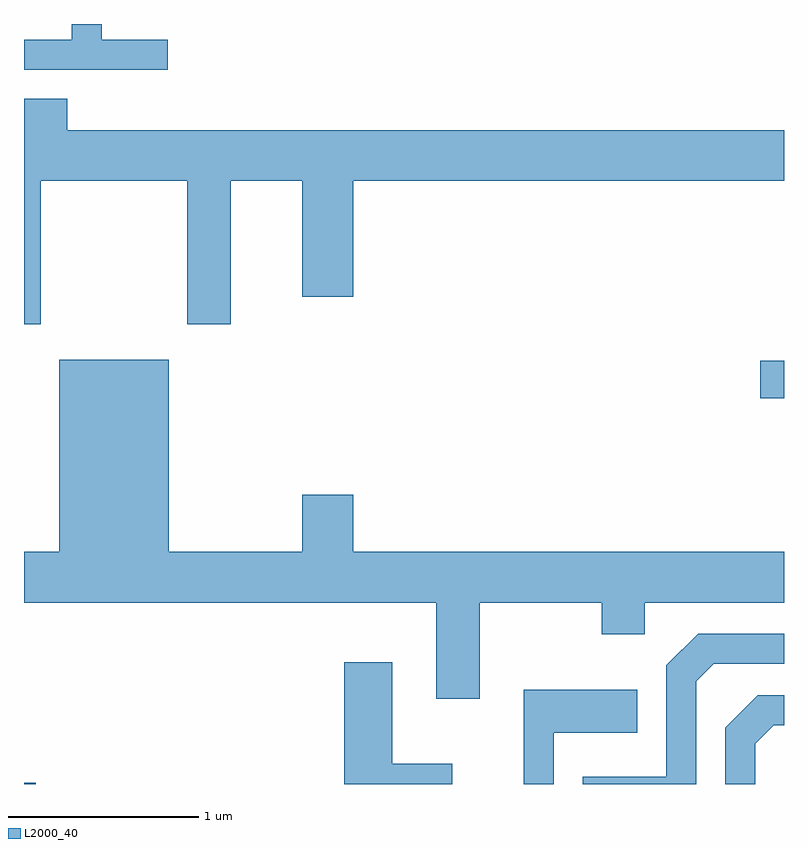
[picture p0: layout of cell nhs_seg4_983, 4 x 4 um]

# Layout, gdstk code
import gdstk
lib = gdstk.Library(unit=1e-6, precision=1e-09)
def R(c, l, rs):  # rectangles x0, y0, x1, y1
    for r in rs: c.add(gdstk.rectangle(r[:2], r[2:], *l))
def P(c, l, *ps):  # polygons
    for p in ps: c.add(gdstk.Polygon(p, *l))
L2000_40 = (2000, 40)

nhs_seg4_983 = lib.new_cell('nhs_seg4_983')
R(nhs_seg4_983, L2000_40, [(213.611,1315.982,213.674,1315.989), (217.486,1318.011,217.611,1318.209)])
P(nhs_seg4_983, L2000_40, [(214.368,1319.899),(214.019,1319.899),(214.019,1319.982),(213.861,1319.982),(213.861,1319.899),(213.611,1319.899),(213.611,1319.741),(214.368,1319.741)],
  [(213.699,1319.156),(214.471,1319.156),(214.471,1318.401),(214.699,1318.401),(214.699,1319.156),(215.076,1319.156),(215.076,1318.546),(215.344,1318.546),(215.344,1319.156),(217.611,1319.156),(217.611,1319.424),(213.839,1319.424),(213.839,1319.589),(213.611,1319.589),(213.611,1318.401),(213.699,1318.401)],
  [(216.009,1316.936),(216.651,1316.936),(216.651,1316.771),(216.879,1316.771),(216.879,1316.936),(217.611,1316.936),(217.611,1317.204),(215.344,1317.204),(215.344,1317.504),(215.076,1317.504),(215.076,1317.204),(214.374,1317.204),(214.374,1318.214),(213.796,1318.214),(213.796,1317.204),(213.611,1317.204),(213.611,1316.936),(215.781,1316.936),(215.781,1316.431),(216.009,1316.431)],
  [(217.149,1316.524),(217.242,1316.616),(217.611,1316.616),(217.611,1316.774),(217.159,1316.774),(216.991,1316.607),(216.991,1316.019),(216.551,1316.019),(216.551,1315.982),(217.149,1315.982)],
  [(215.864,1316.089),(215.549,1316.089),(215.549,1316.624),(215.296,1316.624),(215.296,1315.982),(215.864,1315.982)],
  [(216.399,1316.251),(216.839,1316.251),(216.839,1316.479),(216.241,1316.479),(216.241,1315.982),(216.399,1315.982)],
  [(217.459,1316.194),(217.557,1316.291),(217.611,1316.291),(217.611,1316.449),(217.474,1316.449),(217.301,1316.277),(217.301,1315.982),(217.459,1315.982)])

lib.write_gds('nhs_seg4_983.gds')
